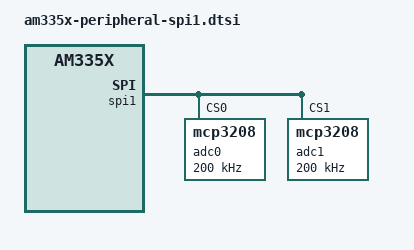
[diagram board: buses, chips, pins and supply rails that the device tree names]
/*
 * Copyright (C) 2012 Texas Instruments Incorporated - http://www.ti.com/
 *
 * This program is free software; you can redistribute it and/or modify
 * it under the terms of the GNU General Public License version 2 as
 * published by the Free Software Foundation.
 */

&spi1 {
	pinctrl-names = "default";

	status = "okay";

	adc0 {
		compatible = "mcp3208";
		reg = <0x0>;
		spi-max-frequency = <200000>;
	};

	adc1 {
		compatible = "mcp3208";
		reg = <0x1>;
		spi-max-frequency = <200000>;
	};
};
